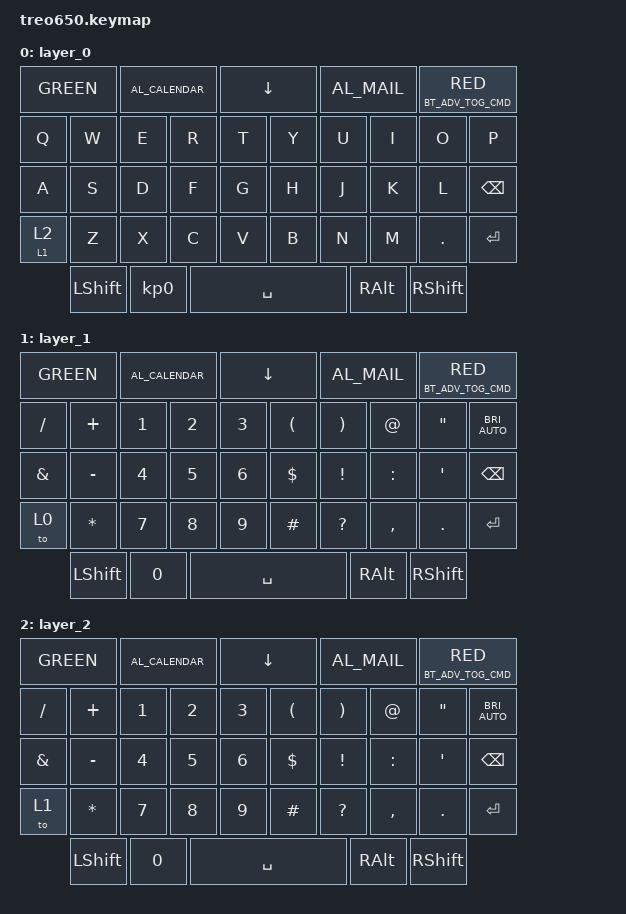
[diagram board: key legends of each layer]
#include <behaviors.dtsi>
#include <dt-bindings/zmk/bt.h>
#include <dt-bindings/zmk/backlight.h>
#include <dt-bindings/zmk/keys.h>

/ {
    behaviors {
        optht: optht {
            compatible = "zmk,behavior-hold-tap";
            label = "OPTHT";
            #binding-cells = <2>;
            bindings = <&mo>, <&sl>;

            tapping-term-ms = <200>;
        };

        redht: redht {
            compatible = "zmk,behavior-hold-tap";
            label = "REDHT";
            #binding-cells = <2>;
            bindings = <&bt>, <&kp>;

            tapping-term-ms = <200>;
        };
    };

    keymap {
        compatible = "zmk,keymap";

        layer_0 {
            bindings = <
             &kp HOME           &kp UP          &kp K_MENU
             &kp LEFT           &kp TAB         &kp RIGHT
&kp C_GREEN  &kp C_AL_CALENDAR  &kp DOWN        &kp C_AL_MAIL  &redht BT_ADV_TOG_CMD C_RED
&kp Q        &kp W              &kp E           &kp R          &kp T            &kp Y        &kp U          &kp I            &kp O    &kp P
&kp A        &kp S              &kp D           &kp F          &kp G            &kp H        &kp J          &kp K            &kp L    &kp BACKSPACE
&optht 1 2   &kp Z              &kp X           &kp C          &kp V            &kp B        &kp N          &kp M            &kp DOT  &kp ENTER
                                &kp LEFT_SHIFT                 &kp KP_NUMBER_0  &kp SPACE    &kp RIGHT_ALT  &kp RIGHT_SHIFT
            >;
        };

        layer_1 {
            bindings = <
             &kp HOME           &kp UP          &kp K_MENU
             &kp LEFT           &kp TAB         &kp RIGHT
&kp C_GREEN  &kp C_AL_CALENDAR  &kp DOWN        &kp C_AL_MAIL  &redht BT_ADV_TOG_CMD C_RED
&kp SLASH    &kp PLUS           &kp N1          &kp N2         &kp N3     &kp LPAR      &kp RPAR         &kp AT           &kp DQT  &kp C_BRIGHTNESS_AUTO
&kp AMPS     &kp MINUS          &kp N4          &kp N5         &kp N6     &kp DOLLAR    &kp EXCLAMATION  &kp COLON        &kp SQT  &kp BACKSPACE
&to 0        &kp ASTRK          &kp N7          &kp N8         &kp N9     &kp HASH      &kp QUESTION     &kp COMMA        &kp DOT  &kp ENTER
                                &kp LEFT_SHIFT                 &kp N0     &kp SPACE     &kp RIGHT_ALT    &kp RIGHT_SHIFT
            >;
        };

        layer_2 {
            bindings = <
             &kp HOME           &kp UP          &kp K_MENU
             &kp LEFT           &kp TAB         &kp RIGHT
&kp C_GREEN  &kp C_AL_CALENDAR  &kp DOWN        &kp C_AL_MAIL  &redht BT_ADV_TOG_CMD C_RED
&kp SLASH    &kp PLUS           &kp N1          &kp N2         &kp N3     &kp LPAR      &kp RPAR         &kp AT           &kp DQT  &kp C_BRIGHTNESS_AUTO
&kp AMPS     &kp MINUS          &kp N4          &kp N5         &kp N6     &kp DOLLAR    &kp EXCLAMATION  &kp COLON        &kp SQT  &kp BACKSPACE
&to 1        &kp ASTRK          &kp N7          &kp N8         &kp N9     &kp HASH      &kp QUESTION     &kp COMMA        &kp DOT  &kp ENTER
                                &kp LEFT_SHIFT                 &kp N0     &kp SPACE     &kp RIGHT_ALT    &kp RIGHT_SHIFT
            >;
        };
    };
};
